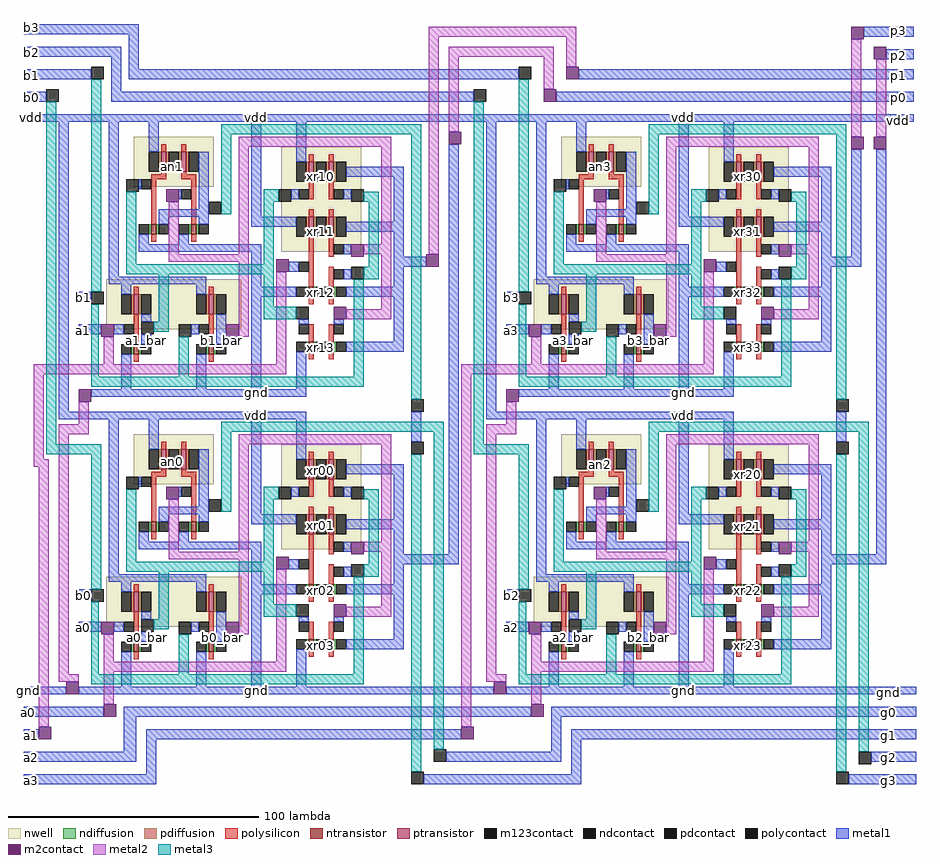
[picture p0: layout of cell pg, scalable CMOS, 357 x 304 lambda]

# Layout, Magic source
magic
tech scmos
<< nwell >>
rect -47 -2 -15 18
rect 12 -28 44 14
rect 124 -2 156 18
rect 183 -28 215 14
rect -58 -59 -4 -39
rect 113 -59 167 -39
rect -47 -121 -15 -101
rect 12 -147 44 -105
rect 124 -121 156 -101
rect 183 -147 215 -105
rect -58 -178 -4 -158
rect 113 -178 167 -158
<< ntransistor >>
rect -40 -21 -38 -17
rect -24 -21 -22 -17
rect 131 -21 133 -17
rect 147 -21 149 -17
rect 23 -46 25 -42
rect 31 -46 33 -42
rect 194 -46 196 -42
rect 202 -46 204 -42
rect -47 -69 -45 -65
rect -17 -69 -15 -65
rect 23 -68 25 -64
rect 31 -68 33 -64
rect 124 -69 126 -65
rect 154 -69 156 -65
rect 194 -68 196 -64
rect 202 -68 204 -64
rect -40 -140 -38 -136
rect -24 -140 -22 -136
rect 131 -140 133 -136
rect 147 -140 149 -136
rect 23 -165 25 -161
rect 31 -165 33 -161
rect 194 -165 196 -161
rect 202 -165 204 -161
rect -47 -188 -45 -184
rect -17 -188 -15 -184
rect 23 -187 25 -183
rect 31 -187 33 -183
rect 124 -188 126 -184
rect 154 -188 156 -184
rect 194 -187 196 -183
rect 202 -187 204 -183
<< ptransistor >>
rect -36 4 -34 12
rect -28 4 -26 12
rect 23 0 25 8
rect 31 0 33 8
rect 135 4 137 12
rect 143 4 145 12
rect 23 -22 25 -14
rect 31 -22 33 -14
rect 194 0 196 8
rect 202 0 204 8
rect 194 -22 196 -14
rect 202 -22 204 -14
rect -47 -53 -45 -45
rect -17 -53 -15 -45
rect 124 -53 126 -45
rect 154 -53 156 -45
rect -36 -115 -34 -107
rect -28 -115 -26 -107
rect 23 -119 25 -111
rect 31 -119 33 -111
rect 135 -115 137 -107
rect 143 -115 145 -107
rect 23 -141 25 -133
rect 31 -141 33 -133
rect 194 -119 196 -111
rect 202 -119 204 -111
rect 194 -141 196 -133
rect 202 -141 204 -133
rect -47 -172 -45 -164
rect -17 -172 -15 -164
rect 124 -172 126 -164
rect 154 -172 156 -164
<< ndiffusion >>
rect -41 -21 -40 -17
rect -38 -21 -37 -17
rect -25 -21 -24 -17
rect -22 -21 -21 -17
rect 130 -21 131 -17
rect 133 -21 134 -17
rect 146 -21 147 -17
rect 149 -21 150 -17
rect 22 -46 23 -42
rect 25 -46 26 -42
rect 30 -46 31 -42
rect 33 -46 34 -42
rect 193 -46 194 -42
rect 196 -46 197 -42
rect 201 -46 202 -42
rect 204 -46 205 -42
rect -48 -69 -47 -65
rect -45 -69 -44 -65
rect -18 -69 -17 -65
rect -15 -69 -14 -65
rect 22 -68 23 -64
rect 25 -68 26 -64
rect 30 -68 31 -64
rect 33 -68 34 -64
rect 123 -69 124 -65
rect 126 -69 127 -65
rect 153 -69 154 -65
rect 156 -69 157 -65
rect 193 -68 194 -64
rect 196 -68 197 -64
rect 201 -68 202 -64
rect 204 -68 205 -64
rect -41 -140 -40 -136
rect -38 -140 -37 -136
rect -25 -140 -24 -136
rect -22 -140 -21 -136
rect 130 -140 131 -136
rect 133 -140 134 -136
rect 146 -140 147 -136
rect 149 -140 150 -136
rect 22 -165 23 -161
rect 25 -165 26 -161
rect 30 -165 31 -161
rect 33 -165 34 -161
rect 193 -165 194 -161
rect 196 -165 197 -161
rect 201 -165 202 -161
rect 204 -165 205 -161
rect -48 -188 -47 -184
rect -45 -188 -44 -184
rect -18 -188 -17 -184
rect -15 -188 -14 -184
rect 22 -187 23 -183
rect 25 -187 26 -183
rect 30 -187 31 -183
rect 33 -187 34 -183
rect 123 -188 124 -184
rect 126 -188 127 -184
rect 153 -188 154 -184
rect 156 -188 157 -184
rect 193 -187 194 -183
rect 196 -187 197 -183
rect 201 -187 202 -183
rect 204 -187 205 -183
<< pdiffusion >>
rect -37 4 -36 12
rect -34 4 -33 12
rect -29 4 -28 12
rect -26 4 -25 12
rect 22 0 23 8
rect 25 0 26 8
rect 30 0 31 8
rect 33 0 34 8
rect 134 4 135 12
rect 137 4 138 12
rect 142 4 143 12
rect 145 4 146 12
rect 22 -22 23 -14
rect 25 -22 26 -14
rect 30 -22 31 -14
rect 33 -22 34 -14
rect 193 0 194 8
rect 196 0 197 8
rect 201 0 202 8
rect 204 0 205 8
rect 193 -22 194 -14
rect 196 -22 197 -14
rect 201 -22 202 -14
rect 204 -22 205 -14
rect -48 -53 -47 -45
rect -45 -53 -44 -45
rect -18 -53 -17 -45
rect -15 -53 -14 -45
rect 123 -53 124 -45
rect 126 -53 127 -45
rect 153 -53 154 -45
rect 156 -53 157 -45
rect -37 -115 -36 -107
rect -34 -115 -33 -107
rect -29 -115 -28 -107
rect -26 -115 -25 -107
rect 22 -119 23 -111
rect 25 -119 26 -111
rect 30 -119 31 -111
rect 33 -119 34 -111
rect 134 -115 135 -107
rect 137 -115 138 -107
rect 142 -115 143 -107
rect 145 -115 146 -107
rect 22 -141 23 -133
rect 25 -141 26 -133
rect 30 -141 31 -133
rect 33 -141 34 -133
rect 193 -119 194 -111
rect 196 -119 197 -111
rect 201 -119 202 -111
rect 204 -119 205 -111
rect 193 -141 194 -133
rect 196 -141 197 -133
rect 201 -141 202 -133
rect 204 -141 205 -133
rect -48 -172 -47 -164
rect -45 -172 -44 -164
rect -18 -172 -17 -164
rect -15 -172 -14 -164
rect 123 -172 124 -164
rect 126 -172 127 -164
rect 153 -172 154 -164
rect 156 -172 157 -164
<< ndcontact >>
rect -45 -21 -41 -17
rect -37 -21 -33 -17
rect -29 -21 -25 -17
rect -21 -21 -17 -17
rect 126 -21 130 -17
rect 134 -21 138 -17
rect 142 -21 146 -17
rect 150 -21 154 -17
rect 18 -46 22 -42
rect 26 -46 30 -42
rect 34 -46 38 -42
rect 189 -46 193 -42
rect 197 -46 201 -42
rect 205 -46 209 -42
rect -52 -69 -48 -65
rect -44 -69 -40 -65
rect -22 -69 -18 -65
rect -14 -69 -10 -65
rect 18 -68 22 -64
rect 26 -68 30 -64
rect 34 -68 38 -64
rect 119 -69 123 -65
rect 127 -69 131 -65
rect 149 -69 153 -65
rect 157 -69 161 -65
rect 189 -68 193 -64
rect 197 -68 201 -64
rect 205 -68 209 -64
rect -45 -140 -41 -136
rect -37 -140 -33 -136
rect -29 -140 -25 -136
rect -21 -140 -17 -136
rect 126 -140 130 -136
rect 134 -140 138 -136
rect 142 -140 146 -136
rect 150 -140 154 -136
rect 18 -165 22 -161
rect 26 -165 30 -161
rect 34 -165 38 -161
rect 189 -165 193 -161
rect 197 -165 201 -161
rect 205 -165 209 -161
rect -52 -188 -48 -184
rect -44 -188 -40 -184
rect -22 -188 -18 -184
rect -14 -188 -10 -184
rect 18 -187 22 -183
rect 26 -187 30 -183
rect 34 -187 38 -183
rect 119 -188 123 -184
rect 127 -188 131 -184
rect 149 -188 153 -184
rect 157 -188 161 -184
rect 189 -187 193 -183
rect 197 -187 201 -183
rect 205 -187 209 -183
<< pdcontact >>
rect -41 4 -37 12
rect -33 4 -29 12
rect -25 4 -21 12
rect 18 0 22 8
rect 26 0 30 8
rect 34 0 38 8
rect 130 4 134 12
rect 138 4 142 12
rect 146 4 150 12
rect 18 -22 22 -14
rect 26 -22 30 -14
rect 34 -22 38 -14
rect 189 0 193 8
rect 197 0 201 8
rect 205 0 209 8
rect 189 -22 193 -14
rect 197 -22 201 -14
rect 205 -22 209 -14
rect -52 -53 -48 -45
rect -44 -53 -40 -45
rect -22 -53 -18 -45
rect -14 -53 -10 -45
rect 119 -53 123 -45
rect 127 -53 131 -45
rect 149 -53 153 -45
rect 157 -53 161 -45
rect -41 -115 -37 -107
rect -33 -115 -29 -107
rect -25 -115 -21 -107
rect 18 -119 22 -111
rect 26 -119 30 -111
rect 34 -119 38 -111
rect 130 -115 134 -107
rect 138 -115 142 -107
rect 146 -115 150 -107
rect 18 -141 22 -133
rect 26 -141 30 -133
rect 34 -141 38 -133
rect 189 -119 193 -111
rect 197 -119 201 -111
rect 205 -119 209 -111
rect 189 -141 193 -133
rect 197 -141 201 -133
rect 205 -141 209 -133
rect -52 -172 -48 -164
rect -44 -172 -40 -164
rect -22 -172 -18 -164
rect -14 -172 -10 -164
rect 119 -172 123 -164
rect 127 -172 131 -164
rect 149 -172 153 -164
rect 157 -172 161 -164
<< polysilicon >>
rect -36 12 -34 15
rect -28 12 -26 15
rect 135 12 137 15
rect 143 12 145 15
rect 23 8 25 11
rect 31 8 33 11
rect -36 3 -34 4
rect -40 1 -34 3
rect -28 3 -26 4
rect -28 1 -22 3
rect -40 -17 -38 1
rect -24 -17 -22 1
rect 194 8 196 11
rect 202 8 204 11
rect 135 3 137 4
rect 131 1 137 3
rect 143 3 145 4
rect 143 1 149 3
rect 23 -7 25 0
rect 31 -7 33 0
rect 23 -14 25 -11
rect 31 -14 33 -11
rect -40 -24 -38 -21
rect -24 -24 -22 -21
rect 131 -17 133 1
rect 147 -17 149 1
rect 194 -7 196 0
rect 202 -7 204 0
rect 194 -14 196 -11
rect 202 -14 204 -11
rect 23 -42 25 -22
rect 31 -30 33 -22
rect 131 -24 133 -21
rect 147 -24 149 -21
rect 31 -42 33 -34
rect 194 -42 196 -22
rect 202 -30 204 -22
rect 202 -42 204 -34
rect -47 -45 -45 -42
rect -17 -45 -15 -42
rect 124 -45 126 -42
rect 154 -45 156 -42
rect 23 -49 25 -46
rect 31 -49 33 -46
rect 194 -49 196 -46
rect 202 -49 204 -46
rect -47 -65 -45 -53
rect -17 -65 -15 -53
rect 23 -64 25 -57
rect 31 -64 33 -57
rect 124 -65 126 -53
rect 154 -65 156 -53
rect 194 -64 196 -57
rect 202 -64 204 -57
rect -47 -72 -45 -69
rect -17 -72 -15 -69
rect 23 -71 25 -68
rect 31 -71 33 -68
rect 124 -72 126 -69
rect 154 -72 156 -69
rect 194 -71 196 -68
rect 202 -71 204 -68
rect -36 -107 -34 -104
rect -28 -107 -26 -104
rect 135 -107 137 -104
rect 143 -107 145 -104
rect 23 -111 25 -108
rect 31 -111 33 -108
rect -36 -116 -34 -115
rect -40 -118 -34 -116
rect -28 -116 -26 -115
rect -28 -118 -22 -116
rect -40 -136 -38 -118
rect -24 -136 -22 -118
rect 194 -111 196 -108
rect 202 -111 204 -108
rect 135 -116 137 -115
rect 131 -118 137 -116
rect 143 -116 145 -115
rect 143 -118 149 -116
rect 23 -126 25 -119
rect 31 -126 33 -119
rect 23 -133 25 -130
rect 31 -133 33 -130
rect -40 -143 -38 -140
rect -24 -143 -22 -140
rect 131 -136 133 -118
rect 147 -136 149 -118
rect 194 -126 196 -119
rect 202 -126 204 -119
rect 194 -133 196 -130
rect 202 -133 204 -130
rect 23 -161 25 -141
rect 31 -149 33 -141
rect 131 -143 133 -140
rect 147 -143 149 -140
rect 31 -161 33 -153
rect 194 -161 196 -141
rect 202 -149 204 -141
rect 202 -161 204 -153
rect -47 -164 -45 -161
rect -17 -164 -15 -161
rect 124 -164 126 -161
rect 154 -164 156 -161
rect 23 -168 25 -165
rect 31 -168 33 -165
rect 194 -168 196 -165
rect 202 -168 204 -165
rect -47 -184 -45 -172
rect -17 -184 -15 -172
rect 23 -183 25 -176
rect 31 -183 33 -176
rect 124 -184 126 -172
rect 154 -184 156 -172
rect 194 -183 196 -176
rect 202 -183 204 -176
rect -47 -191 -45 -188
rect -17 -191 -15 -188
rect 23 -190 25 -187
rect 31 -190 33 -187
rect 124 -191 126 -188
rect 154 -191 156 -188
rect 194 -190 196 -187
rect 202 -190 204 -187
<< polycontact >>
rect -44 -3 -40 1
rect -28 -7 -24 -3
rect 19 -7 23 -3
rect 127 -3 131 1
rect 33 -7 37 -3
rect 143 -7 147 -3
rect 190 -7 194 -3
rect 204 -7 208 -3
rect 19 -36 23 -32
rect 33 -29 37 -25
rect 33 -39 37 -35
rect 190 -36 194 -32
rect 204 -29 208 -25
rect 204 -39 208 -35
rect -51 -61 -47 -57
rect -21 -61 -17 -57
rect 19 -61 23 -57
rect 33 -61 37 -57
rect 120 -61 124 -57
rect 150 -61 154 -57
rect 190 -61 194 -57
rect 204 -61 208 -57
rect -44 -122 -40 -118
rect -28 -126 -24 -122
rect 19 -126 23 -122
rect 127 -122 131 -118
rect 33 -126 37 -122
rect 143 -126 147 -122
rect 190 -126 194 -122
rect 204 -126 208 -122
rect 19 -155 23 -151
rect 33 -148 37 -144
rect 33 -158 37 -154
rect 190 -155 194 -151
rect 204 -148 208 -144
rect 204 -158 208 -154
rect -51 -180 -47 -176
rect -21 -180 -17 -176
rect 19 -180 23 -176
rect 33 -180 37 -176
rect 120 -180 124 -176
rect 150 -180 154 -176
rect 190 -180 194 -176
rect 204 -180 208 -176
<< metal1 >>
rect -91 59 -45 63
rect -91 50 -52 54
rect -91 41 -64 45
rect -91 32 -82 36
rect -56 36 -52 50
rect -49 45 -45 59
rect 245 58 265 62
rect 254 49 265 53
rect -49 41 107 45
rect 131 41 265 45
rect -56 32 89 36
rect 122 32 265 36
rect -91 24 265 27
rect -77 -92 -73 24
rect -57 -38 -53 24
rect -41 12 -37 24
rect -45 -3 -44 1
rect -29 -7 -28 -3
rect -21 -11 -17 12
rect -37 -14 -17 -11
rect -37 -17 -33 -14
rect -21 -17 -17 -14
rect 0 -14 4 24
rect 18 8 22 24
rect 38 2 61 6
rect 16 -7 19 -3
rect 37 -7 40 -3
rect 0 -18 18 -14
rect -45 -25 -41 -21
rect -29 -25 -25 -21
rect 57 -16 61 2
rect 38 -20 61 -16
rect -45 -28 4 -25
rect -57 -41 -18 -38
rect -69 -48 -64 -44
rect -52 -45 -48 -41
rect -22 -45 -18 -41
rect 0 -42 4 -28
rect 37 -29 40 -25
rect 57 -30 61 -20
rect 15 -36 19 -32
rect 57 -34 70 -30
rect 37 -39 40 -35
rect 57 -42 61 -34
rect -44 -56 -40 -53
rect -69 -61 -60 -57
rect -55 -61 -51 -57
rect -44 -65 -40 -61
rect -24 -61 -21 -57
rect -14 -65 -10 -53
rect 0 -46 18 -42
rect 38 -46 61 -42
rect -52 -83 -48 -69
rect -22 -83 -18 -69
rect 0 -83 4 -46
rect 19 -57 23 -55
rect 33 -57 37 -55
rect 57 -64 61 -46
rect 38 -68 61 -64
rect 18 -83 22 -68
rect -64 -86 22 -83
rect -77 -95 22 -92
rect -57 -157 -53 -95
rect -41 -107 -37 -95
rect -45 -122 -44 -118
rect -29 -126 -28 -122
rect -21 -130 -17 -107
rect -37 -133 -17 -130
rect -37 -136 -33 -133
rect -21 -136 -17 -133
rect 0 -133 4 -95
rect 18 -111 22 -95
rect 64 -104 68 -92
rect 38 -117 61 -113
rect 16 -126 19 -122
rect 37 -126 40 -122
rect 0 -137 18 -133
rect -45 -144 -41 -140
rect -29 -144 -25 -140
rect 57 -135 61 -117
rect 38 -139 61 -135
rect -45 -147 4 -144
rect -57 -160 -18 -157
rect -69 -167 -64 -163
rect -52 -164 -48 -160
rect -22 -164 -18 -160
rect 0 -161 4 -147
rect 37 -148 40 -144
rect 57 -149 61 -139
rect 79 -149 83 15
rect 94 -92 98 24
rect 114 -38 118 24
rect 130 12 134 24
rect 126 -3 127 1
rect 142 -7 143 -3
rect 150 -11 154 12
rect 134 -14 154 -11
rect 134 -17 138 -14
rect 150 -17 154 -14
rect 171 -14 175 24
rect 189 8 193 24
rect 209 2 232 6
rect 187 -7 190 -3
rect 208 -7 211 -3
rect 171 -18 189 -14
rect 126 -25 130 -21
rect 142 -25 146 -21
rect 228 -16 232 2
rect 209 -20 232 -16
rect 126 -28 175 -25
rect 114 -41 153 -38
rect 102 -48 107 -44
rect 119 -45 123 -41
rect 149 -45 153 -41
rect 171 -42 175 -28
rect 208 -29 211 -25
rect 228 -30 232 -20
rect 240 -30 244 13
rect 186 -36 190 -32
rect 228 -34 244 -30
rect 208 -39 211 -35
rect 228 -42 232 -34
rect 127 -56 131 -53
rect 102 -61 111 -57
rect 116 -61 120 -57
rect 127 -65 131 -61
rect 147 -61 150 -57
rect 157 -65 161 -53
rect 171 -46 189 -42
rect 209 -46 232 -42
rect 119 -83 123 -69
rect 149 -83 153 -69
rect 171 -83 175 -46
rect 190 -57 194 -55
rect 204 -57 208 -55
rect 228 -64 232 -46
rect 209 -68 232 -64
rect 189 -83 193 -68
rect 107 -86 193 -83
rect 94 -95 193 -92
rect 15 -155 19 -151
rect 57 -153 83 -149
rect 37 -158 40 -154
rect 57 -161 61 -153
rect 114 -157 118 -95
rect 130 -107 134 -95
rect 126 -122 127 -118
rect 142 -126 143 -122
rect 150 -130 154 -107
rect 134 -133 154 -130
rect 134 -136 138 -133
rect 150 -136 154 -133
rect 171 -133 175 -95
rect 189 -111 193 -95
rect 234 -104 238 -92
rect 209 -117 232 -113
rect 187 -126 190 -122
rect 208 -126 211 -122
rect 171 -137 189 -133
rect 126 -144 130 -140
rect 142 -144 146 -140
rect 228 -135 232 -117
rect 209 -139 232 -135
rect 126 -147 175 -144
rect 114 -160 153 -157
rect -44 -175 -40 -172
rect -69 -180 -60 -176
rect -55 -180 -51 -176
rect -44 -184 -40 -180
rect -24 -180 -21 -176
rect -14 -184 -10 -172
rect 0 -165 18 -161
rect 38 -165 61 -161
rect -91 -205 -74 -202
rect -52 -202 -48 -188
rect -22 -202 -18 -188
rect 0 -202 4 -165
rect 19 -176 23 -174
rect 33 -176 37 -174
rect 57 -183 61 -165
rect 102 -167 107 -163
rect 119 -164 123 -160
rect 149 -164 153 -160
rect 171 -161 175 -147
rect 208 -148 211 -144
rect 228 -149 232 -139
rect 250 -149 254 13
rect 186 -155 190 -151
rect 228 -153 254 -149
rect 208 -158 211 -154
rect 228 -161 232 -153
rect 127 -175 131 -172
rect 102 -180 111 -176
rect 116 -180 120 -176
rect 38 -187 61 -183
rect 127 -184 131 -180
rect 147 -180 150 -176
rect 157 -184 161 -172
rect 171 -165 189 -161
rect 209 -165 232 -161
rect 18 -202 22 -187
rect -69 -205 97 -202
rect 119 -202 123 -188
rect 149 -202 153 -188
rect 171 -202 175 -165
rect 190 -176 194 -174
rect 204 -176 208 -174
rect 228 -183 232 -165
rect 209 -187 232 -183
rect 189 -202 193 -187
rect 102 -205 266 -202
rect -91 -214 -59 -210
rect -51 -214 112 -210
rect 120 -214 266 -210
rect -91 -223 -85 -219
rect -51 -228 -46 -214
rect -91 -232 -46 -228
rect -42 -223 84 -219
rect -42 -237 -38 -223
rect 120 -228 124 -214
rect 78 -232 124 -228
rect 128 -223 266 -219
rect -91 -241 -38 -237
rect 128 -237 132 -223
rect 248 -232 266 -228
rect 69 -241 132 -237
rect 239 -241 266 -237
<< m2contact >>
rect 240 57 245 62
rect 249 49 254 54
rect 126 41 131 46
rect 117 32 122 37
rect -34 -8 -29 -3
rect 79 15 84 20
rect 40 -30 45 -25
rect 10 -36 15 -31
rect 70 -34 75 -29
rect -60 -62 -55 -57
rect -10 -62 -5 -57
rect 33 -55 38 -50
rect -69 -88 -64 -83
rect -34 -127 -29 -122
rect 40 -149 45 -144
rect 137 -8 142 -3
rect 240 13 245 18
rect 249 13 254 18
rect 211 -30 216 -25
rect 181 -36 186 -31
rect 111 -62 116 -57
rect 161 -62 166 -57
rect 204 -55 209 -50
rect 102 -88 107 -83
rect 10 -155 15 -150
rect 137 -127 142 -122
rect -60 -181 -55 -176
rect -10 -181 -5 -176
rect -74 -205 -69 -200
rect 33 -174 38 -169
rect 211 -149 216 -144
rect 181 -155 186 -150
rect 111 -181 116 -176
rect 161 -181 166 -176
rect 97 -205 102 -200
rect 204 -174 209 -169
rect -59 -214 -54 -209
rect 112 -214 117 -209
rect -85 -223 -80 -218
rect 84 -223 89 -218
<< metal2 >>
rect 71 58 130 62
rect -5 14 56 18
rect -33 -29 -29 -8
rect -5 -29 -1 14
rect 52 -25 56 14
rect -33 -32 -1 -29
rect 45 -29 56 -25
rect 71 -29 75 58
rect 79 50 121 54
rect 79 20 83 50
rect 117 37 121 50
rect 126 46 130 58
rect 240 18 244 57
rect 250 18 254 49
rect 166 14 227 18
rect -5 -62 -1 -32
rect -59 -73 -55 -62
rect 10 -73 14 -36
rect 52 -51 56 -29
rect 138 -29 142 -8
rect 166 -29 170 14
rect 223 -25 227 14
rect 138 -32 170 -29
rect 216 -29 227 -25
rect 38 -55 56 -51
rect 166 -62 170 -32
rect 112 -73 116 -62
rect 181 -73 185 -36
rect 223 -51 227 -29
rect 209 -55 227 -51
rect -87 -77 14 -73
rect 84 -77 185 -73
rect -87 -111 -83 -77
rect -69 -97 -65 -88
rect -77 -101 -65 -97
rect -87 -114 -81 -111
rect -85 -218 -81 -114
rect -77 -197 -73 -101
rect -5 -105 56 -101
rect -33 -148 -29 -127
rect -5 -148 -1 -105
rect 52 -144 56 -105
rect -33 -151 -1 -148
rect 45 -148 56 -144
rect -5 -181 -1 -151
rect -59 -192 -55 -181
rect 10 -192 14 -155
rect 52 -170 56 -148
rect 38 -174 56 -170
rect -59 -196 14 -192
rect -77 -200 -69 -197
rect -59 -209 -55 -196
rect 84 -218 88 -77
rect 102 -97 106 -88
rect 94 -101 106 -97
rect 94 -197 98 -101
rect 166 -105 227 -101
rect 138 -148 142 -127
rect 166 -148 170 -105
rect 223 -144 227 -105
rect 138 -151 170 -148
rect 216 -148 227 -144
rect 166 -181 170 -151
rect 112 -192 116 -181
rect 181 -192 185 -155
rect 223 -170 227 -148
rect 209 -174 227 -170
rect 112 -196 185 -192
rect 94 -200 102 -197
rect 112 -209 116 -196
<< m123contact >>
rect -64 41 -59 46
rect -82 32 -77 37
rect -50 -4 -45 1
rect -17 -13 -12 -8
rect 11 -8 16 -3
rect 40 -8 45 -3
rect 107 41 112 46
rect 89 32 94 37
rect 121 -4 126 1
rect -64 -49 -59 -44
rect -44 -61 -39 -56
rect -29 -62 -24 -57
rect 40 -39 45 -34
rect 18 -55 23 -50
rect 154 -13 159 -8
rect 182 -8 187 -3
rect 211 -8 216 -3
rect 107 -49 112 -44
rect 127 -61 132 -56
rect 142 -62 147 -57
rect 211 -39 216 -34
rect 189 -55 194 -50
rect 64 -92 69 -87
rect -50 -123 -45 -118
rect -17 -132 -12 -127
rect 11 -127 16 -122
rect 40 -127 45 -122
rect 64 -109 69 -104
rect -64 -168 -59 -163
rect -44 -180 -39 -175
rect -29 -181 -24 -176
rect 40 -158 45 -153
rect 18 -174 23 -169
rect 234 -92 239 -87
rect 121 -123 126 -118
rect 154 -132 159 -127
rect 182 -127 187 -122
rect 211 -127 216 -122
rect 234 -109 239 -104
rect 107 -168 112 -163
rect 127 -180 132 -175
rect 142 -181 147 -176
rect 211 -158 216 -153
rect 189 -174 194 -169
rect 73 -232 78 -227
rect 243 -233 248 -228
rect 64 -241 69 -236
rect 234 -241 239 -236
<< metal3 >>
rect -82 -105 -78 32
rect -64 -44 -60 41
rect -12 19 68 23
rect -50 -33 -46 -4
rect -12 -13 -8 19
rect 5 -8 11 -3
rect 45 -8 51 -4
rect 5 -33 9 -8
rect -50 -37 9 -33
rect 47 -34 51 -8
rect -64 -78 -61 -49
rect -37 -56 -33 -37
rect 5 -50 9 -37
rect 45 -39 51 -34
rect 5 -55 18 -50
rect -39 -60 -33 -56
rect -29 -78 -25 -62
rect 41 -78 45 -39
rect -64 -82 45 -78
rect 64 -87 68 19
rect -12 -100 77 -96
rect -82 -109 -60 -105
rect -64 -163 -60 -109
rect -50 -152 -46 -123
rect -12 -132 -8 -100
rect 5 -127 11 -122
rect 45 -127 51 -123
rect 5 -152 9 -127
rect -50 -156 9 -152
rect 47 -153 51 -127
rect -64 -197 -61 -168
rect -37 -175 -33 -156
rect 5 -169 9 -156
rect 45 -158 51 -153
rect 5 -174 18 -169
rect -39 -179 -33 -175
rect -29 -197 -25 -181
rect 41 -197 45 -158
rect -64 -201 45 -197
rect 64 -236 68 -109
rect 73 -227 77 -100
rect 89 -105 93 32
rect 107 -44 111 41
rect 159 19 238 23
rect 121 -33 125 -4
rect 159 -13 163 19
rect 176 -8 182 -3
rect 216 -8 222 -4
rect 176 -33 180 -8
rect 121 -37 180 -33
rect 218 -34 222 -8
rect 107 -78 110 -49
rect 134 -56 138 -37
rect 176 -50 180 -37
rect 216 -39 222 -34
rect 176 -55 189 -50
rect 132 -60 138 -56
rect 142 -78 146 -62
rect 212 -78 216 -39
rect 107 -82 216 -78
rect 234 -87 238 19
rect 159 -100 247 -96
rect 89 -109 111 -105
rect 107 -163 111 -109
rect 121 -152 125 -123
rect 159 -132 163 -100
rect 176 -127 182 -122
rect 216 -127 222 -123
rect 176 -152 180 -127
rect 121 -156 180 -152
rect 218 -153 222 -127
rect 107 -197 110 -168
rect 134 -175 138 -156
rect 176 -169 180 -156
rect 216 -158 222 -153
rect 176 -174 189 -169
rect 132 -179 138 -175
rect 142 -197 146 -181
rect 212 -197 216 -158
rect 107 -201 216 -197
rect 234 -236 238 -109
rect 243 -228 247 -100
<< labels >>
rlabel metal1 172 -85 174 -84 1 gnd
rlabel metal1 172 25 174 26 5 vdd
rlabel metal1 172 -94 174 -93 5 vdd
rlabel metal1 172 -204 174 -203 1 gnd
rlabel metal1 1 -85 3 -84 1 gnd
rlabel metal1 1 25 3 26 5 vdd
rlabel metal1 1 -94 3 -93 5 vdd
rlabel metal1 1 -204 3 -203 1 gnd
rlabel ndcontact 27 -186 28 -185 1 xr03
rlabel ndcontact 27 -164 28 -163 1 xr02
rlabel pdcontact 27 -138 28 -137 1 xr01
rlabel pdcontact 27 -116 28 -115 1 xr00
rlabel metal1 -12 -183 -11 -182 1 b0_bar
rlabel metal1 -42 -183 -41 -182 1 a0_bar
rlabel metal1 -68 -166 -66 -165 3 b0
rlabel metal1 -68 -179 -66 -178 3 a0
rlabel pdcontact -32 -113 -31 -111 1 an0
rlabel metal1 -68 -60 -66 -59 1 a1
rlabel metal1 -68 -47 -66 -46 1 b1
rlabel metal1 -43 -64 -41 -63 1 a1_bar
rlabel metal1 -13 -64 -11 -63 1 b1_bar
rlabel pdcontact -32 5 -31 7 1 an1
rlabel pdcontact 27 1 28 3 1 xr10
rlabel pdcontact 27 -21 28 -19 1 xr11
rlabel ndcontact 27 -45 28 -44 1 xr12
rlabel ndcontact 27 -67 28 -66 1 xr13
rlabel metal1 103 -179 105 -178 1 a2
rlabel metal1 103 -166 105 -165 1 b2
rlabel metal1 128 -183 130 -182 1 a2_bar
rlabel pdcontact 139 -114 140 -112 1 an2
rlabel metal1 103 -60 105 -59 1 a3
rlabel metal1 103 -47 105 -46 1 b3
rlabel metal1 128 -64 130 -63 1 a3_bar
rlabel metal1 158 -64 160 -63 1 b3_bar
rlabel pdcontact 139 5 140 7 1 an3
rlabel pdcontact 198 -118 199 -116 1 xr20
rlabel pdcontact 198 -139 199 -137 1 xr21
rlabel ndcontact 198 -164 199 -163 1 xr22
rlabel ndcontact 198 -186 199 -185 1 xr23
rlabel metal1 -90 -213 -88 -212 3 a0
rlabel metal1 -89 -222 -87 -221 3 a1
rlabel metal1 -89 -231 -87 -230 3 a2
rlabel metal1 -89 -240 -87 -239 2 a3
rlabel metal1 -90 -204 -88 -203 3 gnd
rlabel metal1 -89 33 -87 34 3 b0
rlabel metal1 -89 42 -87 43 3 b1
rlabel metal1 -89 51 -87 52 3 b2
rlabel metal1 -89 61 -87 62 4 b3
rlabel metal1 -89 25 -87 26 3 vdd
rlabel pdcontact 198 1 199 3 1 xr30
rlabel pdcontact 198 -21 199 -19 1 xr31
rlabel ndcontact 198 -45 199 -44 1 xr32
rlabel ndcontact 198 -67 199 -66 1 xr33
rlabel metal1 254 -205 256 -204 1 gnd
rlabel metal1 254 -213 256 -212 1 g0
rlabel metal1 254 -222 256 -221 1 g1
rlabel metal1 254 -231 256 -230 1 g2
rlabel metal1 254 -240 256 -239 1 g3
rlabel metal1 258 24 260 25 1 vdd
rlabel metal1 258 33 260 34 1 p0
rlabel metal1 258 42 260 43 1 p1
rlabel metal1 258 50 260 51 1 p2
rlabel metal1 258 60 260 61 5 p3
rlabel metal1 158 -183 160 -182 1 b2_bar
<< end >>
